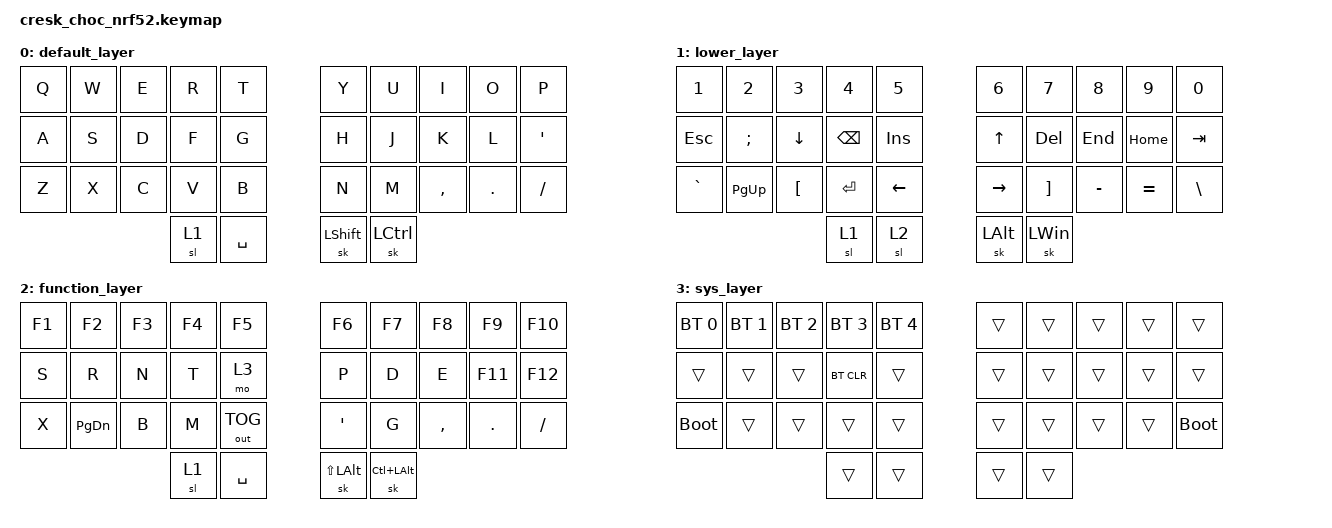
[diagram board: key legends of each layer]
/*
 * Copyright (c) 2023 The ZMK Contributors
 *
 * SPDX-License-Identifier: MIT
 */

#include <behaviors.dtsi>
#include <dt-bindings/zmk/keys.h>
#include <dt-bindings/zmk/bt.h>
#include <dt-bindings/zmk/outputs.h>

&sk {
	release-after-ms = <200>;
	quick-release;
};

&sl {
	release-after-ms = <200>;
};

/ {
	keymap {
		compatible = "zmk,keymap";

		default_layer {
			bindings = <
&kp Q &kp W &kp E &kp R &kp T &kp Y &kp U &kp I &kp O &kp P
&kp A &kp S &kp D &kp F &kp G &kp H &kp J &kp K &kp L &kp SQT
&kp Z &kp X &kp C &kp V &kp B &kp N &kp M &kp COMMA &kp DOT &kp FSLH
&sl 1 &kp SPACE &sk LSHIFT &sk LCTRL
			>;
		}
;
		lower_layer {
			bindings = <
&kp N1 &kp N2 &kp N3 &kp N4 &kp N5 &kp N6 &kp N7 &kp N8 &kp N9 &kp N0
&kp ESC &kp SEMI &kp DOWN &kp BSPC &kp INS &kp UP &kp DEL &kp END &kp HOME &kp TAB
&kp GRAVE &kp PG_UP &kp LBKT &kp RET &kp LEFT &kp RIGHT &kp RBKT &kp MINUS &kp EQUAL &kp BSLH
&sl 1 &sl 2 &sk LALT &sk LWIN
			>;
		};

		function_layer {
			bindings = <
&kp F1 &kp F2 &kp F3 &kp F4 &kp F5 &kp F6 &kp F7 &kp F8 &kp F9 &kp F10
&kp S &kp R &kp N &kp T &mo 3 &kp P &kp D &kp E &kp F11 &kp F12
&kp X &kp PG_DN &kp B &kp M &out OUT_TOG &kp SQT &kp G &kp COMMA &kp DOT &kp FSLH
&sl 1 &kp SPACE &sk LS(LALT) &sk LC(LALT)
			>;
		};

		sys_layer {
			bindings = <
&bt BT_SEL 0 &bt BT_SEL 1 &bt BT_SEL 2 &bt BT_SEL 3 &bt BT_SEL 4 &trans &trans &trans &trans &trans
&trans &trans &trans &bt BT_CLR &trans &trans &trans &trans &trans &trans
&bootloader &trans &trans &trans &trans &trans &trans &trans &trans &bootloader
&trans &trans &trans &trans
			>;
		};
	};
};
